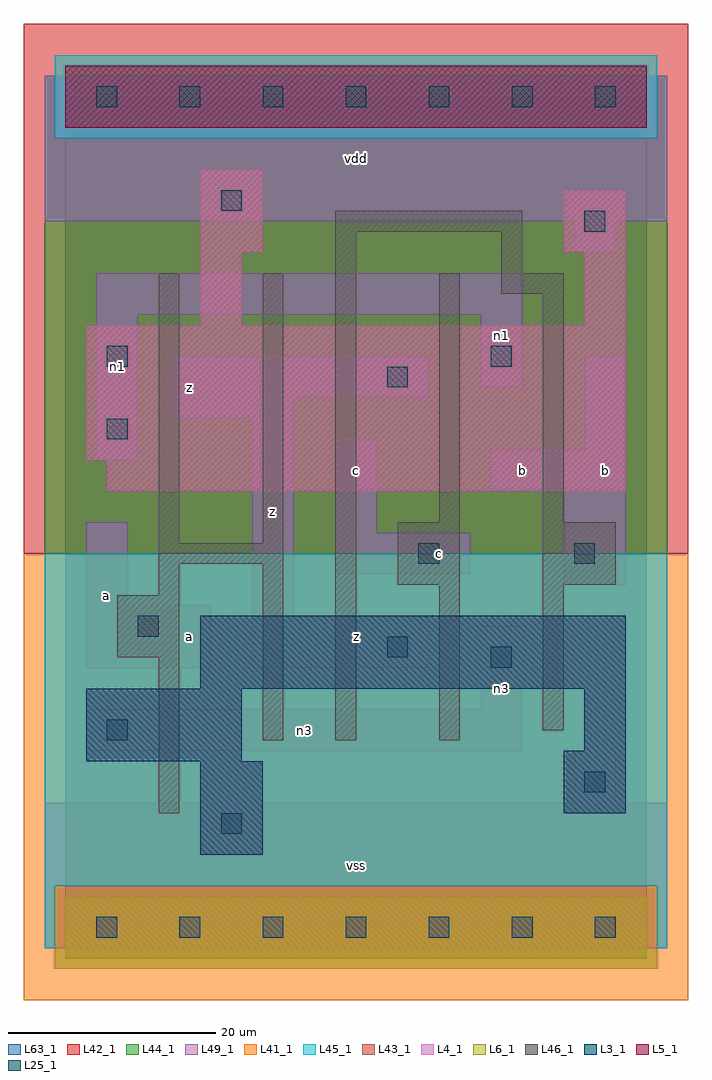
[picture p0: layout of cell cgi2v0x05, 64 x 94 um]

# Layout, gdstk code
import gdstk
lib = gdstk.Library(unit=1e-6, precision=1e-09)
def R(c, l, rs):  # rectangles x0, y0, x1, y1
    for r in rs: c.add(gdstk.rectangle(r[:2], r[2:], *l))
def A(c, l, x, y, w, h, nx, ny, dx, dy):  # array of equal rectangles
    R(c, l, [(x+i*dx, y+j*dy, x+i*dx+w, y+j*dy+h) for i in range(nx) for j in range(ny)])
L3_1 = (3, 1)
L4_1 = (4, 1)
L5_1 = (5, 1)
L6_1 = (6, 1)
L25_1 = (25, 1)
L41_1 = (41, 1)
L42_1 = (42, 1)
L43_1 = (43, 1)
L44_1 = (44, 1)
L45_1 = (45, 1)
L46_1 = (46, 1)
L49_1 = (49, 1)
L63_1 = (63, 1)

cgi2v0x05 = lib.new_cell('cgi2v0x05')
R(cgi2v0x05, L3_1, [(13,7,19,16), (48,11,54,17), (2,16,17,23), (50,17,54,23), (13,23,54,30)])
R(cgi2v0x05, L4_1, [(4,42,54,45), (2,45,54,58), (13,58,17,65), (50,58,54,65), (13,65,19,73), (48,65,54,71)])
R(cgi2v0x05, L5_1, [(0,77,56,83)])
R(cgi2v0x05, L6_1, [(0,-3,56,3), (0,-3,56,3)])
A(cgi2v0x05, L25_1, 3, -1, 2, 2, 7, 2, 8, 80)
R(cgi2v0x05, L25_1, [(15,9,17,11), (50,13,52,15), (4,18,6,20), (41,25,43,27), (31,26,33,28), (7,28,9,30), (34,35,36,37), (49,35,51,37), (4,47,6,49), (31,52,33,54), (4,54,6,56), (41,54,43,56), (50,67,52,69), (15,69,17,71)])
R(cgi2v0x05, L41_1, [(-4,-7,60,36)])
R(cgi2v0x05, L42_1, [(-4,36,60,87)])
R(cgi2v0x05, L43_1, [(0,-3,56,3), (13,7,19,16), (48,11,54,17), (2,16,17,23), (50,17,54,23), (13,23,54,30), (4,42,54,45), (2,45,54,58), (13,58,17,65), (50,58,54,65), (13,65,19,73), (48,65,54,71), (0,77,56,83)])
R(cgi2v0x05, L44_1, [(-1,-4,57,4), (-2,36,58,76), (-2,76,-1,82), (57,76,58,82)])
R(cgi2v0x05, L45_1, [(-2,-2,-1,4), (57,-2,58,4), (-2,4,58,36), (-1,76,57,84)])
R(cgi2v0x05, L46_1, [(9,11,11,26), (19,18,21,35), (26,18,28,67), (36,18,38,33), (46,19,48,33), (5,26,11,32), (9,32,11,35), (32,33,38,39), (46,33,53,39), (9,35,21,37), (9,37,11,63), (19,37,21,63), (36,39,38,63), (46,39,48,61), (42,61,48,63), (42,63,44,67), (26,67,44,69)])
R(cgi2v0x05, L49_1, [(-2,-2,58,12), (49,12,53,17), (2,17,44,21), (40,21,44,29), (2,25,14,31), (18,25,35,30), (18,30,22,49), (2,31,6,39), (48,33,54,42), (26,34,39,38), (26,38,30,47), (41,42,54,46), (3,45,7,59), (50,46,54,55), (10,49,22,51), (10,51,35,55), (40,52,44,59), (3,59,44,63), (49,65,53,68), (-2,68,58,82)])
R(cgi2v0x05, L63_1, [(0,0,56,80)])
cgi2v0x05.add(gdstk.Label('a', (4,32), layer=49, texttype=1))
cgi2v0x05.add(gdstk.Label('n1', (5,54), layer=49, texttype=1))
cgi2v0x05.add(gdstk.Label('a', (12,28), layer=49, texttype=1))
cgi2v0x05.add(gdstk.Label('z', (12,52), layer=49, texttype=1))
cgi2v0x05.add(gdstk.Label('vss', (28,6), layer=49, texttype=1))
cgi2v0x05.add(gdstk.Label('z', (28,28), layer=49, texttype=1))
cgi2v0x05.add(gdstk.Label('z', (20,40), layer=49, texttype=1))
cgi2v0x05.add(gdstk.Label('c', (28,44), layer=49, texttype=1))
cgi2v0x05.add(gdstk.Label('vdd', (28,74), layer=49, texttype=1))
cgi2v0x05.add(gdstk.Label('n3', (23,19), layer=49, texttype=1))
cgi2v0x05.add(gdstk.Label('n3', (42,23), layer=49, texttype=1))
cgi2v0x05.add(gdstk.Label('c', (36,36), layer=49, texttype=1))
cgi2v0x05.add(gdstk.Label('b', (44,44), layer=49, texttype=1))
cgi2v0x05.add(gdstk.Label('n1', (42,57), layer=49, texttype=1))
cgi2v0x05.add(gdstk.Label('b', (52,44), layer=49, texttype=1))

lib.write_gds('cgi2v0x05.gds')
